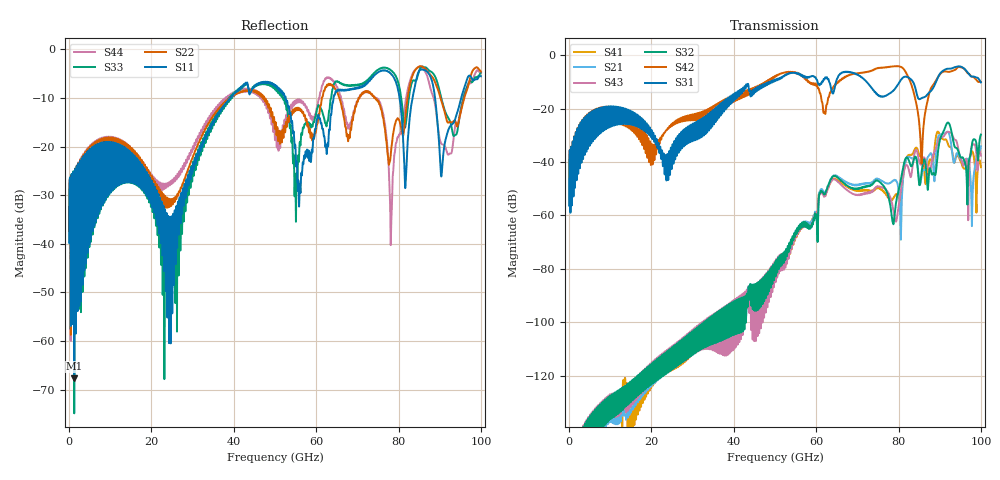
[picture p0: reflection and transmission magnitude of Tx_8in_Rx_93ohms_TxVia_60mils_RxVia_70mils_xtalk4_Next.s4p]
! Info: Touchstone file created by Circ.  Input file=Tx_8in_Rx_93ohms_TxVia_60mils_RxVia_70mils.circ
# Hz S RI R 50
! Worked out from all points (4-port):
!   10000 points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, 10 MHz to 100 GHz, reference 50 ohm
!   strongest paths, dB at 10 MHz, 25.01 GHz, 50.01 GHz, 75.01 GHz, 100 GHz:
!     S31: -56.3, -37.5, -9.3, -15.0, -10.2
!     S42: -55.7, -26.4, -7.9, -4.9, -10.0
!     S32: -194.8, -109.5, -78.1, -47.0, -29.7
!     S43: -159.2, -109.2, -78.0, -49.2, -37.6
!     S21: -195.7, -110.0, -79.2, -46.4, -34.2
!     S41: -161.0, -109.8, -79.5, -49.9, -41.9
!   lowest |S11| = -67.6 dB at 1.25 GHz (marker M1), VSWR 1.00, Z = 50 - j0.026 ohm
!   |S11| at or under -10 dB: start of sweep to 39.11 GHz; 52.62 GHz to 64.2 GHz (11.58 GHz wide, 19.8 % of centre); 88.87 GHz to 95.21 GHz (6.336 GHz wide, 6.88 % of centre) (the widest 3 of 4)
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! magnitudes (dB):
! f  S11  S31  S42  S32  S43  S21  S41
! 10 MHz  -39.8  -56.3  -55.7  -194.8  -159.2  -195.7  -161.0
! 1.25 GHz  -67.6  -30.5  -30.4  -154.3  -153.6  -155.4  -154.2
! 49.36 GHz  -7.0  -10.1  -8.9  -85.6  -87.8  -84.9  -87.2
! 64.23 GHz  -9.8  -13.8  -11.7  -45.2  -46.4  -45.0  -46.2
! 78.19 GHz  -5.0  -14.0  -4.3  -58.3  -54.3  -47.6  -54.3
! 85.59 GHz  -4.1  -16.1  -40.6  -43.9  -40.9  -45.3  -37.8
! 100 GHz  -5.5  -10.2  -10.0  -29.7  -37.6  -34.2  -41.9
